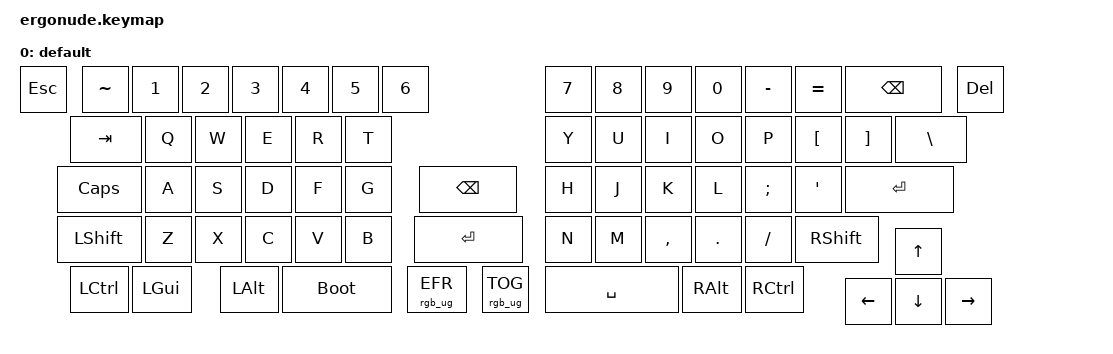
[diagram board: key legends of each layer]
#include <behaviors.dtsi>
#include <dt-bindings/zmk/bt.h>
#include <dt-bindings/zmk/keys.h>
#include <dt-bindings/zmk/rgb.h>

/ {
    keymap0: keymap {
        compatible = "zmk,keymap";

        default_layer {
            display-name = "default";
            bindings = < 
&kp ESC   &kp TILDE   &kp N1    &kp N2   &kp N3    &kp N4    &kp N5    &kp N6                 &kp N7    &kp N8   &kp N9     &kp N0    &kp MINUS    &kp EQUAL   &kp BSPC            &kp DEL
          &kp TAB     &kp Q     &kp W    &kp E     &kp R     &kp T                            &kp Y     &kp U    &kp I      &kp O     &kp P        &kp LBKT    &kp RBKT  &kp BSLH
          &kp CAPS    &kp A     &kp S    &kp D     &kp F     &kp G            &kp BSPC        &kp H     &kp J    &kp K      &kp L     &kp SEMI     &kp SQT               &kp ENTER
          &kp LSHFT   &kp Z     &kp X    &kp C     &kp V     &kp B            &kp RET         &kp N     &kp M    &kp COMMA  &kp DOT   &kp FSLH     &kp RSHFT             &kp UP 
          &kp LCTRL   &kp LGUI           &kp LALT            &bootloader        &rgb_ug RGB_EFR    &rgb_ug RGB_TOG            &kp SPACE           &kp RALT  &kp RCTRL                &kp LEFT  &kp DOWN  &kp RIGHT
            >; 
        };
    };
};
